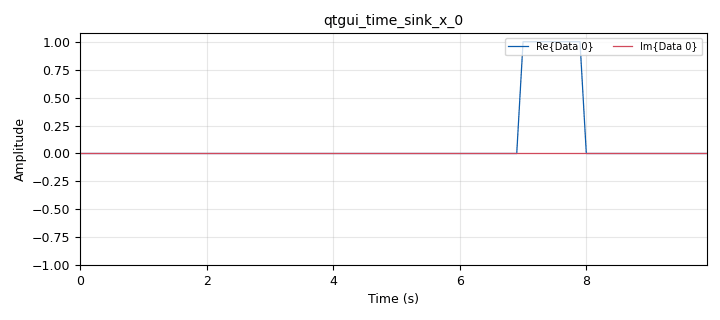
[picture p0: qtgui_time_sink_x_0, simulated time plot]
<?xml version='1.0' encoding='utf-8'?>
<?grc format='1' created='3.7.11'?>
<flow_graph>
<block>
<key>options</key>
<param><key>id</key><value>top_block</value></param>
<param><key>generate_options</key><value>qt_gui</value></param>
</block>
<block>
<key>variable</key>
<param><key>id</key><value>samp_rate</value></param>
<param><key>value</key><value>10</value></param>
</block>
<block>
<key>blocks_vector_source_x</key>
<param><key>id</key><value>blocks_vector_source_x_0</value></param>
<param><key>type</key><value>complex</value></param>
<param><key>repeat</key><value>True</value></param>
<param><key>vector</key><value>tuple([0 for i in range(100)] + [1 for i in range(10)])</value></param>
</block>
<block>
<key>qtgui_time_sink_x</key>
<param><key>id</key><value>qtgui_time_sink_x_0</value></param>
<param><key>color1</key><value>"blue"</value></param>
<param><key>label1</key><value></value></param>
<param><key>color2</key><value>"red"</value></param>
<param><key>label2</key><value></value></param>
<param><key>size</key><value>100</value></param>
<param><key>srate</key><value>samp_rate</value></param>
<param><key>type</key><value>complex</value></param>
</block>
<connection><source_block_id>blocks_vector_source_x_0</source_block_id><sink_block_id>qtgui_time_sink_x_0</sink_block_id><source_key>0</source_key><sink_key>0</sink_key></connection>
</flow_graph>
